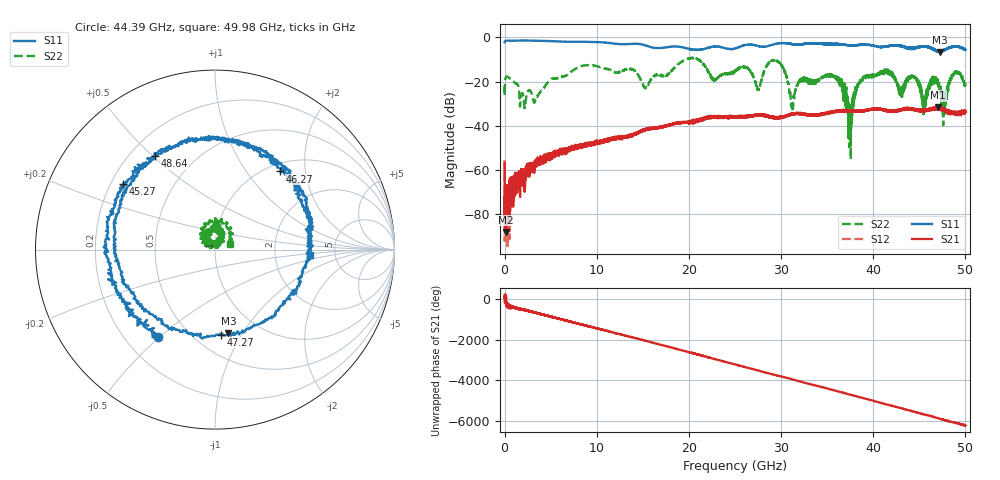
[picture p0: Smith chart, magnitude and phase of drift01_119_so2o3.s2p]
!Created with skrf (http://scikit-rf.org).
# Hz S RI R 50.0
!freq ReS11 ImS11 ReS21 ImS21 ReS12 ImS12 ReS22 ImS22
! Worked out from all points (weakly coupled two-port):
!   10001 points, 300 kHz to 50 GHz, reference 50 ohm
!   highest |S21| = -31.55 dB at 47.03 GHz (marker M1); lowest = -87.9 dB at 170.3 MHz (marker M2)
!   lowest |S11| = -6.6 dB at 47.24 GHz (marker M3), VSWR 2.77, Z = 36.3 - j43.3 ohm
!   |S11| at or under -10 dB: nowhere
!   |S22| runs from -55.2 to -9.2 dB; largest |S21 - S12| = 0.0038
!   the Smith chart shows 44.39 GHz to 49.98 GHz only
!   S11 on the Smith chart (normalised r, x): 44.39 GHz: 0.34, -0.50; 45.27 GHz: 0.25, +0.30; 46.27 GHz: 1.14, +1.46; 47.27 GHz: 0.67, -0.81; 48.64 GHz: 0.30, +0.51; 49.98 GHz: 3.23, -0.26
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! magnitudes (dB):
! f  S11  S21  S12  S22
! 300 kHz  -2.2  -56.9  -55.5  -22.0
! 170.3 MHz  -1.5  -87.9  -70.5  -17.7
! 3.29 GHz  -1.5  -56.6  -56.9  -28.8
! 8.335 GHz  -1.9  -48.6  -48.9  -12.9
! 16.67 GHz  -4.8  -40.7  -40.7  -16.7
! 25 GHz  -5.0  -35.7  -36.2  -15.4
! 29.58 GHz  -2.8  -36.4  -36.2  -10.6
! 31.24 GHz  -3.0  -34.6  -34.5  -32.3
! 33.34 GHz  -2.6  -35.1  -35.0  -19.8
! 36.07 GHz  -3.0  -33.5  -33.5  -19.1
! 37.49 GHz  -3.5  -33.2  -33.2  -36.4
! 38.66 GHz  -3.3  -33.0  -33.1  -19.9
! 41.67 GHz  -3.9  -33.2  -33.3  -15.9
! 44.39 GHz  -4.7  -32.3  -32.7  -17.8
! 45.27 GHz  -4.0  -32.7  -32.8  -25.2
! 46.27 GHz  -4.9  -32.5  -32.4  -19.0
! 47.03 GHz  -6.1  -31.6  -32.0  -20.8
! 47.24 GHz  -6.6  -31.9  -32.3  -25.0
! 47.27 GHz  -6.5  -31.8  -32.1  -23.2
! 48.64 GHz  -4.2  -34.7  -33.6  -16.9
! 49.98 GHz  -5.5  -33.4  -33.5  -20.9
! 50 GHz  -5.6  -33.2  -33.5  -21.6
